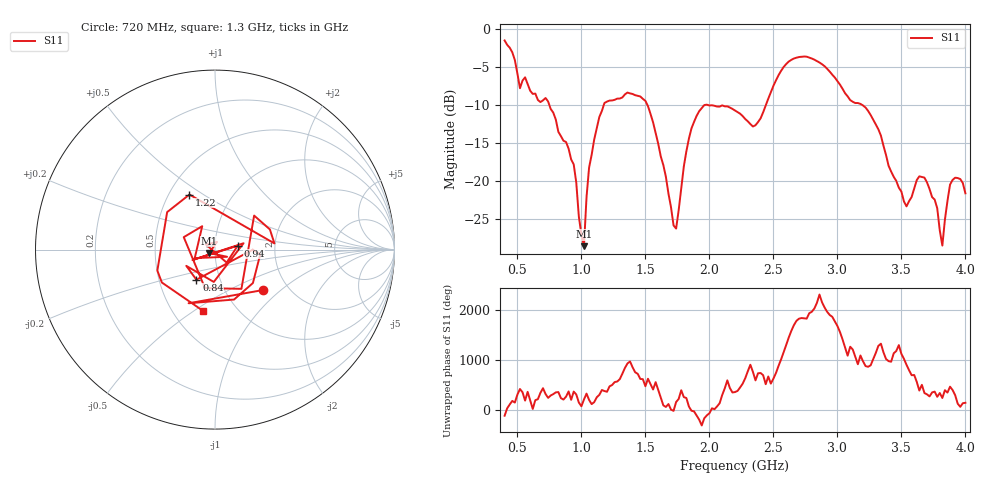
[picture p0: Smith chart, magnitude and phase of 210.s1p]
!Created with skrf (http://scikit-rf.org).
# Hz S RI R 50.0
!freq ReS11 ImS11
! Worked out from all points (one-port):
!   181 points, 400 MHz to 4 GHz, reference 50 ohm
!   lowest |S11| = -28.6 dB at 1.02 GHz (marker M1), VSWR 1.08, Z = 46.9 - j1.8 ohm
!   |S11| at or under -10 dB: 1.516 GHz to 1.965 GHz (448.8 MHz wide, 25.8 % of centre); 1.987 GHz to 2.441 GHz (453.8 MHz wide, 20.5 % of centre); 3.194 GHz to end of sweep (the widest 3 of 4)
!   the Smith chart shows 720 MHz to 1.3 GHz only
!   S11 on the Smith chart (normalised r, x): 720 MHz: 1.50, -0.77; 840 MHz: 0.77, -0.27; 940 MHz: 1.29, +0.06; 1.22 GHz: 0.63, +0.44; 1.3 GHz: 0.70, -0.55
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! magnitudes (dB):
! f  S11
! 400 MHz  -1.5
! 520 MHz  -7.8
! 720 MHz  -9.1
! 840 MHz  -14.1
! 860 MHz  -14.7
! 940 MHz  -17.8
! 1.02 GHz  -28.6
! 1.06 GHz  -18.2
! 1.14 GHz  -11.6
! 1.22 GHz  -9.4
! 1.3 GHz  -9.2
! 1.5 GHz  -9.5
! 1.72 GHz  -25.9
! 1.76 GHz  -23.9
! 1.84 GHz  -14.4
! 1.92 GHz  -10.8
! 2.2 GHz  -10.7
! 2.36 GHz  -12.7
! 2.66 GHz  -3.9
! 2.88 GHz  -4.6
! 3.1 GHz  -9.4
! 3.26 GHz  -11.3
! 3.56 GHz  -22.7
! 3.68 GHz  -19.6
! 3.78 GHz  -23.6
! 3.82 GHz  -28.5
! 3.88 GHz  -20.5
! 4 GHz  -21.6
